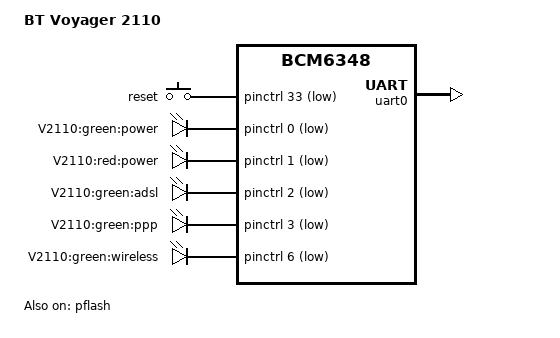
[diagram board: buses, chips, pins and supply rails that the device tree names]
/dts-v1/;

#include "bcm6348.dtsi"

#include <dt-bindings/input/input.h>

/ {
	model = "BT Voyager 2110";
	compatible = "bt,v2110", "brcm,bcm6348";

	chosen {
		bootargs = "root=/dev/mtdblock2 rootfstype=squashfs,jffs2 noinitrd console=ttyS0,115200";
		stdout-path = "serial0:115200n8";
	};

	gpio-keys-polled {
		compatible = "gpio-keys-polled";
		#address-cells = <1>;
		#size-cells = <0>;
		poll-interval = <20>;
		debounce-interval = <60>;

		reset {
			label = "reset";
			gpios = <&pinctrl 33 1>;
			linux,code = <KEY_RESTART>;
		};
	};

	gpio-leds {
		compatible = "gpio-leds";

		power_green {
			label = "V2110:green:power";
			gpios = <&pinctrl 0 1>;
		};
		power_red {
			label = "V2110:red:power";
			gpios = <&pinctrl 1 1>;
		};
		adsl_green {
			label = "V2110:green:adsl";
			gpios = <&pinctrl 2 1>;
		};
		ppp_green {
			label = "V2110:green:ppp";
			gpios = <&pinctrl 3 1>;
		};
		wireless_green {
			label = "V2110:green:wireless";
			gpios = <&pinctrl 6 1>;
		};
	};
};

&pflash {
	status = "ok";

	linux,part-probe = "bcm63xxpart";

	cfe@0 {
		label = "CFE";
		reg = <0x000000 0x010000>;
		read-only;
	};

	linux@10000 {
		label = "linux";
		reg = <0x010000 0x3e0000>;
	};

	nvram@3f0000 {
		label = "nvram";
		reg = <0x3f0000 0x010000>;
	};
};

&pinctrl {
	pinctrl-names = "default";
	pinctrl-0 = <&pinctrl_pci &pinctrl_ext_mii>;
};

&uart0 {
	status = "ok";
};
